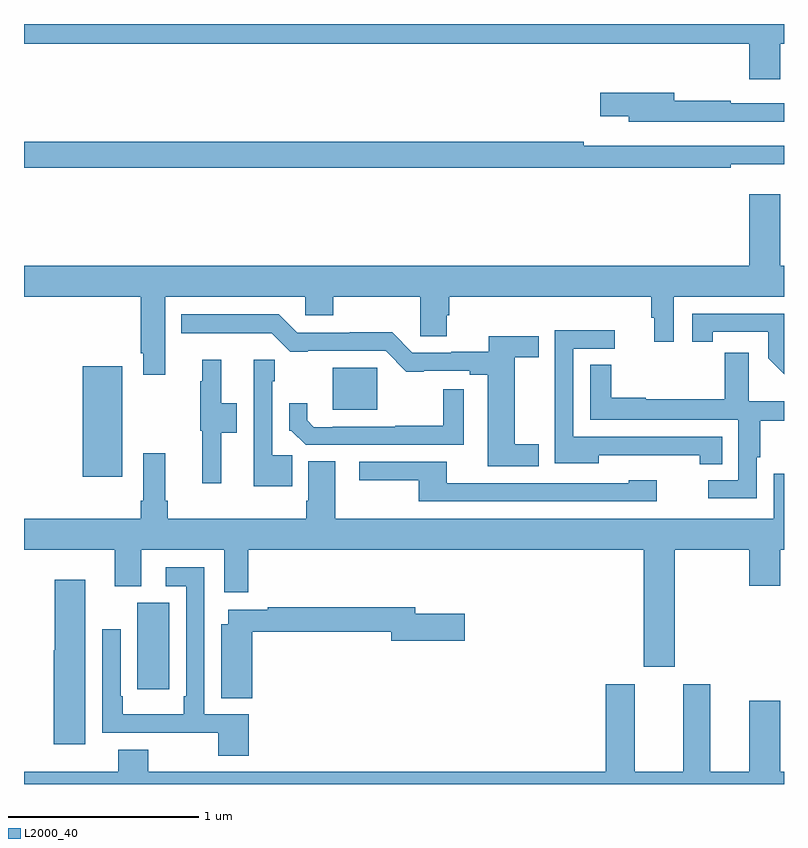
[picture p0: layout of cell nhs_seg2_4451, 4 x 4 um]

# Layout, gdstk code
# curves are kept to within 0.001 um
import gdstk
lib = gdstk.Library(unit=1e-6, precision=1e-09)
def R(c, l, rs):  # rectangles x0, y0, x1, y1
    for r in rs: c.add(gdstk.rectangle(r[:2], r[2:], *l))
def P(c, l, *ps):  # polygons
    for p in ps: c.add(gdstk.Polygon(p, *l))
L2000_40 = (2000, 40)

nhs_seg2_4451 = lib.new_cell('nhs_seg2_4451')
R(nhs_seg2_4451, L2000_40, [(353.597,584.298,353.764,584.755), (353.309,585.416,353.518,586), (354.626,585.77,354.86,585.991)])
P(nhs_seg2_4451, L2000_40, [(356.98,587.696),(357,587.696),(357,587.8),(353,587.8),(353,587.696),(356.816,587.696),(356.816,587.508),(356.98,587.508)],
  [(357,587.382),(356.72,587.382),(356.72,587.395),(356.422,587.395),(356.422,587.437),(356.034,587.437),(356.034,587.315),(356.183,587.315),(356.183,587.286),(357,587.286)],
  [(356.72,587.063),(357,587.063),(357,587.16),(355.946,587.16),(355.946,587.18),(353,587.18),(353,587.044),(356.72,587.044)],
  [(353.743,586.364),(354.48,586.364),(354.48,586.266),(354.627,586.266),(354.627,586.364),(355.086,586.364),(355.086,586.156),(355.225,586.156),(355.225,586.266),(355.238,586.266),(355.238,586.364),(356.301,586.364),(356.301,586.254),(356.318,586.254),(356.318,586.128),(356.419,586.128),(356.419,586.364),(357,586.364),(357,586.528),(356.98,586.528),(356.98,586.903),(356.816,586.903),(356.816,586.528),(353,586.528),(353,586.364),(353.615,586.364),(353.615,586.066),(353.627,586.066),(353.627,585.954),(353.743,585.954)],
  [(357,586.275),(356.517,586.275),(356.517,586.128),(356.626,586.128),(356.626,586.179),(356.916,586.179),(356.916,586.041),(357,585.957)],
  [(355.709,585.588),(355.582,585.588),(355.582,586.045),(355.709,586.045),(355.709,586.156),(355.445,586.156),(355.445,586.076),(355.248,586.076),(355.248,586.071),(355.044,586.071),(354.938,586.178),(354.715,586.178),(354.715,586.176),(354.438,586.176),(354.341,586.273),(353.828,586.273),(353.828,586.172),(354.303,586.173),(354.401,586.075),(354.493,586.075),(354.493,586.08),(354.903,586.08),(355.013,585.97),(355.105,585.97),(355.105,585.975),(355.346,585.975),(355.346,585.955),(355.442,585.955),(355.442,585.473),(355.709,585.473)],
  [(356.675,585.627),(355.89,585.627),(355.89,586.092),(356.11,586.092),(356.11,586.189),(355.794,586.189),(355.794,585.959),(355.793,585.959),(355.793,585.724),(355.794,585.724),(355.794,585.488),(356.026,585.488),(356.026,585.53),(356.557,585.53),(356.557,585.484),(356.675,585.484)],
  [(356.856,585.52),(356.876,585.52),(356.876,585.712),(357,585.712),(357,585.814),(356.815,585.814),(356.815,586.069),(356.687,586.069),(356.687,585.826),(356.273,585.826),(356.273,585.833),(356.092,585.833),(356.092,586.007),(355.98,586.007),(355.98,585.717),(356.76,585.717),(356.76,585.399),(356.601,585.399),(356.601,585.303),(356.856,585.303)],
  [(354.037,585.649),(354.121,585.649),(354.121,585.804),(354.037,585.804),(354.037,586.033),(353.939,586.033),(353.939,585.92),(353.928,585.92),(353.928,585.66),(353.939,585.66),(353.939,585.384),(354.037,585.384)],
  [(354.412,585.529),(354.306,585.529),(354.306,585.92),(354.319,585.92),(354.319,586.033),(354.21,586.033),(354.21,585.368),(354.412,585.368)],
  [(355.314,585.877),(355.206,585.877),(355.206,585.686),(354.955,585.686),(354.955,585.681),(354.625,585.681),(354.625,585.678),(354.526,585.678),(354.491,585.714),(354.491,585.805),(354.396,585.805),(354.396,585.66),(354.407,585.66),(354.482,585.585),(355.314,585.585)],
  [(353,585.032),(353.477,585.032),(353.477,584.84),(353.617,584.84),(353.617,585.032),(354.053,585.032),(354.053,584.808),(354.179,584.808),(354.179,585.032),(356.261,585.032),(356.261,584.418),(356.425,584.418),(356.425,585.032),(356.816,585.032),(356.816,584.844),(356.98,584.844),(356.98,585.032),(357,585.032),(357,585.433),(356.946,585.433),(356.946,585.196),(354.637,585.196),(354.637,585.5),(354.497,585.5),(354.497,585.292),(354.485,585.292),(354.485,585.196),(353.756,585.196),(353.756,585.292),(353.743,585.292),(353.743,585.541),(353.627,585.541),(353.627,585.292),(353.615,585.292),(353.615,585.196),(353,585.196)],
  [(356.329,585.4),(356.184,585.4),(356.184,585.384),(355.225,585.384),(355.225,585.495),(354.765,585.495),(354.765,585.398),(355.078,585.398),(355.078,585.288),(356.329,585.288)],
  [(354.182,584.166),(353.949,584.166),(353.949,584.941),(353.745,584.941),(353.745,584.84),(353.853,584.84),(353.853,584.263),(353.841,584.263),(353.841,584.167),(353.521,584.167),(353.521,584.263),(353.508,584.263),(353.508,584.614),(353.412,584.614),(353.412,584.07),(353.756,584.07),(353.756,584.069),(354.022,584.069),(354.022,583.95),(354.182,583.95)],
  [(353.323,584.875),(353.162,584.875),(353.162,584.505),(353.156,584.505),(353.156,584.01),(353.323,584.01)],
  [(354.2,584.602),(354.932,584.602),(354.932,584.555),(355.321,584.555),(355.321,584.697),(355.06,584.697),(355.06,584.731),(354.283,584.731),(354.283,584.718),(354.074,584.718),(354.074,584.641),(354.038,584.641),(354.038,584.251),(354.2,584.251)],
  [(357,583.864),(356.98,583.864),(356.98,584.239),(356.816,584.239),(356.816,583.864),(356.611,583.864),(356.611,584.326),(356.471,584.326),(356.471,583.864),(356.215,583.864),(356.215,584.326),(356.063,584.326),(356.063,583.864),(353.655,583.864),(353.655,583.981),(353.495,583.981),(353.495,583.864),(353,583.864),(353,583.8),(357,583.8)])

lib.write_gds('nhs_seg2_4451.gds')
